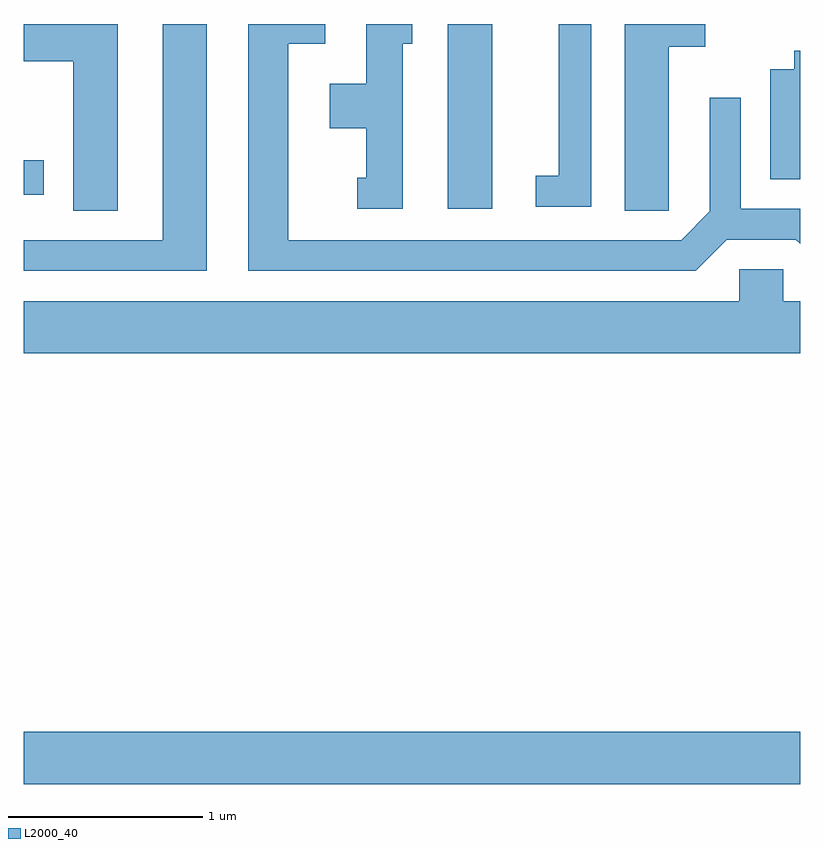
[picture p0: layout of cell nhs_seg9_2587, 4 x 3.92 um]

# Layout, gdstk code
import gdstk
lib = gdstk.Library(unit=1e-6, precision=1e-09)
def R(c, l, rs):  # rectangles x0, y0, x1, y1
    for r in rs: c.add(gdstk.rectangle(r[:2], r[2:], *l))
def P(c, l, *ps):  # polygons
    for p in ps: c.add(gdstk.Polygon(p, *l))
L2000_40 = (2000, 40)

nhs_seg9_2587 = lib.new_cell('nhs_seg9_2587')
R(nhs_seg9_2587, L2000_40, [(261.611,1958.516,265.611,1958.784), (263.796,1961.481,264.024,1962.432), (261.611,1961.551,261.714,1961.729)])
P(nhs_seg9_2587, L2000_40, [(265.232,1961.321),(265.589,1961.321),(265.611,1961.299),(265.611,1961.479),(265.304,1961.479),(265.304,1962.053),(265.146,1962.053),(265.146,1961.467),(264.999,1961.319),(262.974,1961.319),(262.974,1962.331),(263.163,1962.331),(263.163,1962.432),(262.766,1962.432),(262.766,1961.161),(265.072,1961.161)],
  [(262.554,1962.432),(262.326,1962.432),(262.326,1961.319),(261.611,1961.319),(261.611,1961.161),(262.554,1961.161)],
  [(262.094,1962.432),(261.611,1962.432),(261.611,1962.241),(261.866,1962.241),(261.866,1961.471),(262.094,1961.471)],
  [(263.564,1962.331),(263.613,1962.331),(263.613,1962.432),(263.376,1962.432),(263.376,1962.124),(263.186,1962.124),(263.186,1961.896),(263.376,1961.896),(263.376,1961.639),(263.328,1961.639),(263.328,1961.481),(263.564,1961.481)],
  [(264.934,1962.316),(265.123,1962.316),(265.123,1962.432),(264.706,1962.432),(264.706,1961.471),(264.934,1961.471)],
  [(264.534,1962.432),(264.366,1962.432),(264.366,1961.649),(264.248,1961.649),(264.248,1961.491),(264.534,1961.491)],
  [(265.611,1962.294),(265.581,1962.294),(265.581,1962.199),(265.456,1962.199),(265.456,1961.631),(265.611,1961.631)],
  [(265.611,1961.004),(265.524,1961.004),(265.524,1961.169),(265.296,1961.169),(265.296,1961.004),(261.611,1961.004),(261.611,1960.736),(265.611,1960.736)])

lib.write_gds('nhs_seg9_2587.gds')
